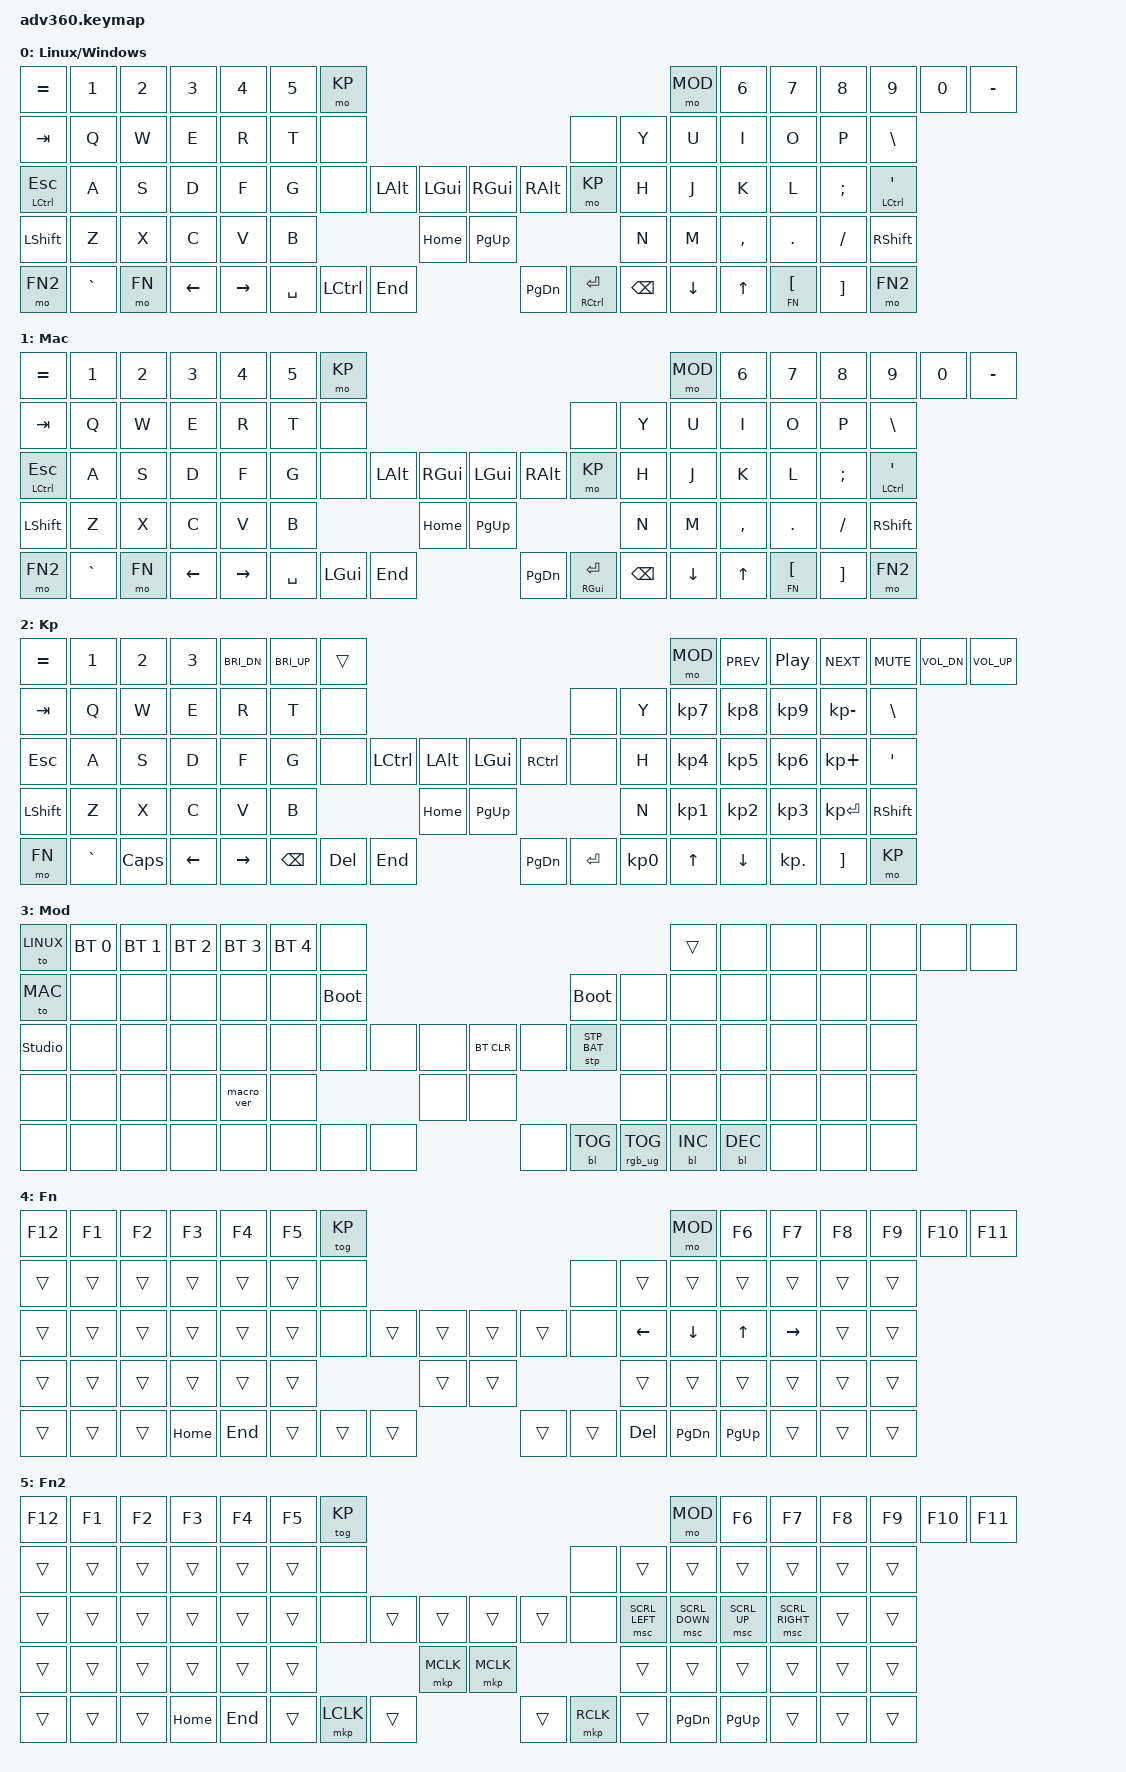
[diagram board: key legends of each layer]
#include <behaviors.dtsi>
#include <dt-bindings/zmk/keys.h>
#include <dt-bindings/zmk/bt.h>
#include <dt-bindings/zmk/rgb.h>
#include <dt-bindings/zmk/stp.h>
#include <dt-bindings/zmk/backlight.h>
#include <dt-bindings/zmk/pointing.h>
#include <dt-bindings/zmk/mouse.h>

#define LINUX 0
#define MAC 1
#define KP 2
#define MOD 3
#define FN 4
#define FN2 5

/ {

    behaviors {
      #include "macros.dtsi"
      #include "version.dtsi"

      hm: homerow_mods {
          compatible = "zmk,behavior-hold-tap";
          label = "HOMEROW_MODS";
          #binding-cells = <2>;
          tapping-term-ms = <170>;
          quick-tap-ms = <150>;
          flavor = "balanced";
          require-prior-idle-ms = <125>;
          bindings = <&kp>, <&kp>;
      };
    };

  keymap {
    compatible = "zmk,keymap";

    default_layer {
      display-name = "Linux/Windows";
      bindings = <
        &kp EQUAL &kp N1    &kp N2   &kp N3   &kp N4     &kp N5 &mo KP                                                          &mo MOD &kp N6 &kp N7 &kp N8    &kp N9   &kp N0   &kp MINUS
        &kp TAB   &kp Q     &kp W    &kp E    &kp R      &kp T  &none                                                            &none &kp Y  &kp U  &kp I     &kp O    &kp P    &kp BSLH
        &hm LCTRL ESC   &kp A     &kp S    &kp D    &kp F      &kp G  &none           &kp LALT &kp LGUI &kp RGUI  &kp RALT           &mo KP &kp H  &kp J  &kp K     &kp L    &kp SEMI &hm LCTRL SQT
        &kp LSHFT &kp Z     &kp X    &kp C    &kp V      &kp B                            &kp HOME &kp PG_UP                           &kp N  &kp M  &kp COMMA &kp DOT  &kp FSLH &kp RSHFT
        &mo FN2     &kp GRAVE &mo FN &kp LEFT &kp RIGHT                &kp SPACE &kp LCTRL   &kp END  &kp PG_DN &hm RCTRL ENTER &kp BSPC              &kp DOWN &kp UP &lt FN LBKT &kp RBKT &mo FN2
      >;
    };
    mac_layer {
      display-name = "Mac";
      bindings = <
        &kp EQUAL &kp N1    &kp N2   &kp N3   &kp N4     &kp N5 &mo KP                                                           &mo MOD &kp N6 &kp N7 &kp N8    &kp N9   &kp N0   &kp MINUS
        &kp TAB   &kp Q     &kp W    &kp E    &kp R      &kp T  &none                                                            &none &kp Y  &kp U  &kp I     &kp O    &kp P    &kp BSLH
        &hm LCTRL ESC   &kp A     &kp S    &kp D    &kp F      &kp G  &none           &kp LALT &kp RGUI &kp LGUI  &kp RALT           &mo KP &kp H  &kp J  &kp K     &kp L    &kp SEMI &hm LCTRL SQT
        &kp LSHFT &kp Z     &kp X    &kp C    &kp V      &kp B                            &kp HOME &kp PG_UP                           &kp N  &kp M  &kp COMMA &kp DOT  &kp FSLH &kp RSHFT
        &mo FN2     &kp GRAVE &mo FN &kp LEFT &kp RIGHT                &kp SPACE &kp LGUI   &kp END  &kp PG_DN &hm RGUI ENTER &kp BSPC              &kp DOWN &kp UP &lt FN LBKT &kp RBKT &mo FN2
      >;
    };
    keypad {
      display-name = "Kp";
      bindings = <
        &kp EQUAL &kp N1    &kp N2   &kp N3   &kp C_BRI_DN     &kp C_BRI_UP &trans                                                           &mo MOD &kp C_PREV &kp C_PP &kp C_NEXT &kp C_MUTE &kp C_VOL_DN &kp C_VOL_UP
        &kp TAB   &kp Q     &kp W    &kp E    &kp R      &kp T  &none                                                            &none &kp Y  &kp KP_N7  &kp KP_N8    &kp KP_N9     &kp KP_MINUS    &kp BSLH
        &kp ESC   &kp A     &kp S    &kp D    &kp F      &kp G  &none           &kp LCTRL &kp LALT &kp LGUI  &kp RCTRL           &none &kp H  &kp KP_N4  &kp KP_N5    &kp KP_N6     &kp KP_PLUS     &kp SQT
        &kp LSHFT &kp Z     &kp X    &kp C    &kp V      &kp B                            &kp HOME &kp PG_UP                           &kp N  &kp KP_N1  &kp KP_N2    &kp KP_N3     &kp KP_ENTER    &kp RSHFT
        &mo FN    &kp GRAVE &kp CAPS &kp LEFT &kp RIGHT                &kp BSPC &kp DEL   &kp END  &kp PG_DN &kp ENTER &kp KP_N0              &kp UP     &kp DOWN     &kp KP_DOT    &kp RBKT        &mo KP
      >;
    };
    mod {
      display-name = "Mod";
      bindings = <
        &to LINUX &bt BT_SEL 0 &bt BT_SEL 1 &bt BT_SEL 2 &bt BT_SEL 3 &bt BT_SEL 4 &none                                                                     &trans                 &none        &none        &none        &none &none &none
        &to MAC &none        &none        &none        &none        &none        &bootloader                                                               &bootloader            &none        &none        &none        &none &none &none
        &studio_unlock &none        &none        &none        &none        &none        &none                   &none &none &bt BT_CLR &none                      &stp STP_BAT &none        &none        &none        &none &none &none
        &none &none        &none        &none        &macro_ver   &none                                      &none &none                                                        &none        &none        &none        &none &none &none
        &none &none        &none        &none        &none                                       &none &none &none &none      &bl BL_TOG &rgb_ug RGB_TOG                                     &bl BL_INC   &bl BL_DEC   &none &none &none
      >;
    };
    fn {
      display-name = "Fn";
      bindings = <
        &kp F12 &kp F1 &kp F2 &kp F3 &kp F4 &kp F5 &tog KP                                           &mo MOD &kp F6 &kp F7 &kp F8 &kp F9 &kp F10 &kp F11
        &trans &trans &trans &trans &trans &trans  &none                                           &none &trans &trans &trans &trans  &trans  &trans
        &trans &trans &trans &trans &trans &trans  &none        &trans &trans &trans &trans        &none &kp LEFT &kp DOWN &kp UP &kp RIGHT  &trans  &trans
        &trans &trans &trans &trans &trans &trans                      &trans &trans                     &trans &trans &trans &trans  &trans  &trans
        &trans &trans &trans &kp HOME &kp END               &trans &trans &trans &trans &trans &kp DEL              &kp PG_DN &kp PG_UP &trans  &trans  &trans
      >;
    };
    fn2 {
      display-name = "Fn2";
      bindings = <
        &kp F12 &kp F1 &kp F2 &kp F3 &kp F4 &kp F5 &tog KP                                           &mo MOD &kp F6 &kp F7 &kp F8 &kp F9 &kp F10 &kp F11
        &trans &trans &trans &trans &trans &trans  &none                                           &none &trans &trans &trans &trans  &trans  &trans
        &trans &trans &trans &trans &trans &trans  &none        &trans &trans &trans &trans        &none &msc SCRL_LEFT &msc SCRL_DOWN &msc SCRL_UP &msc SCRL_RIGHT  &trans  &trans
        &trans &trans &trans &trans &trans &trans                      &mkp MCLK &mkp MCLK                     &trans &trans &trans &trans  &trans  &trans
        &trans &trans &trans &kp HOME &kp END               &trans &mkp LCLK &trans &trans &mkp RCLK &trans              &kp PG_DN &kp PG_UP &trans  &trans  &trans
      >;
    };
    extra1 { 
      display-name = "Red";    
      status = "reserved";
    };

    extra2 { 
      display-name = "Purple";    
      status = "reserved";
    };

    extra3 { 
      display-name = "Cyan";    
      status = "reserved";
    };

    extra4 { 
      display-name = "Yellow";    
      status = "reserved";
    };
  };
};

